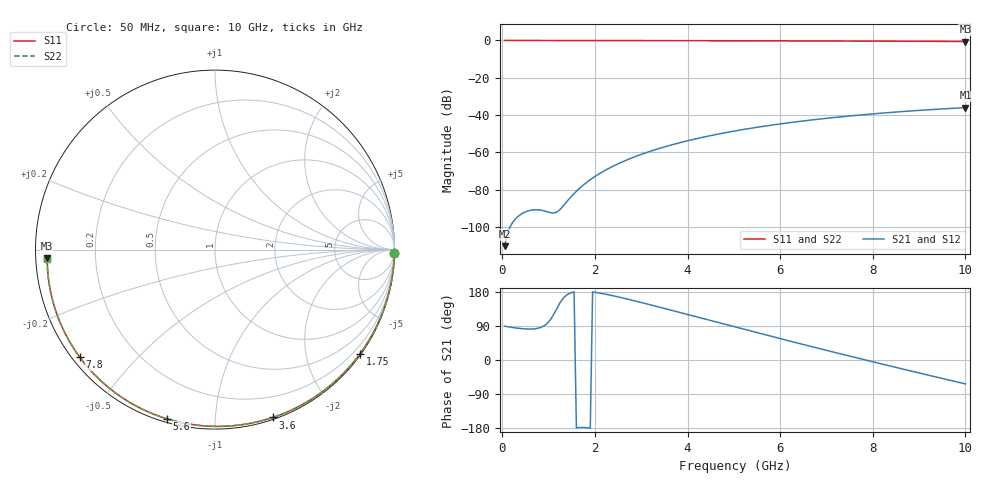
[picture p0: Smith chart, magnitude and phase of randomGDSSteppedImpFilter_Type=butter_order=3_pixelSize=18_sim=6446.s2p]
! freq	dB(S11)	phase(S11)	dB(S12)	phase(S12)
!  dB(S21)	phase(S21)	dB(S22)	phase(S22)
!S-par simulation data
#  GHz  S  DB  R 50
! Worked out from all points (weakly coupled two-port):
!   200 points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, 50 MHz to 10 GHz, reference 50 ohm
!   highest |S21| = -36.04 dB at 10 GHz (marker M1); lowest = -110.3 dB at 50 MHz (marker M2)
!   lowest |S11| = -0.6 dB at 10 GHz (marker M3), VSWR 30.37, Z = 1.65 - j1.25 ohm
!   |S11| at or under -10 dB: nowhere
!   |S22| runs from -0.6 to 0.0 dB; largest |S21 - S12| = 0
!   S11 on the Smith chart (normalised r, x): 50 MHz: open; 1.75 GHz: 0.03, -3.11; 3.6 GHz: 0.02, -1.40; 5.6 GHz: 0.02, -0.76; 7.8 GHz: 0.02, -0.35; 10 GHz: 0.03, -0.03
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0.05  -0.00 -1.0  -110.34 89.0  -110.34 89.0  -0.00 -1.0
0.4  -0.01 -8.3  -93.28 83.0  -93.28 83.0  -0.01 -8.3
0.8  -0.02 -16.5  -90.90 84.7  -90.90 84.7  -0.02 -16.5
1.6  -0.04 -32.7  -80.85 -178.9  -80.85 -178.9  -0.04 -32.7
1.65  -0.04 -33.7  -79.68 -178.3  -79.68 -178.3  -0.04 -33.6
1.75  -0.05 -35.7  -77.51 -178.2  -77.51 -178.2  -0.05 -35.6
1.9  -0.05 -38.6  -74.66 -179.6  -74.66 -179.6  -0.05 -38.6
2.05  -0.05 -41.6  -72.17 177.8  -72.17 177.8  -0.05 -41.6
2.25  -0.06 -45.5  -69.27 173.2  -69.27 173.2  -0.06 -45.5
2.45  -0.06 -49.4  -66.74 168.0  -66.74 168.0  -0.06 -49.3
2.9  -0.08 -58.0  -62.01 154.8  -62.01 154.8  -0.08 -57.9
3.4  -0.09 -67.3  -57.83 139.2  -57.83 139.2  -0.09 -67.3
3.6  -0.10 -71.0  -56.38 132.9  -56.38 132.9  -0.10 -70.9
4.3  -0.12 -83.6  -52.07 110.4  -52.07 110.4  -0.12 -83.5
5.05  -0.15 -96.6  -48.42 86.4  -48.42 86.4  -0.15 -96.5
5.6  -0.17 -105.9  -46.19 69.0  -46.19 69.0  -0.17 -105.8
6.15  -0.21 -114.9  -44.27 51.7  -44.27 51.7  -0.20 -114.8
6.7  -0.24 -123.9  -42.58 34.7  -42.58 34.7  -0.24 -123.7
7.8  -0.33 -141.4  -39.81 1.2  -39.81 1.2  -0.33 -141.3
8.35  -0.38 -150.2  -38.67 -15.1  -38.67 -15.1  -0.38 -150.0
9.2  -0.47 -163.9  -37.17 -40.0  -37.17 -40.0  -0.47 -163.7
10  -0.57 -177.1  -36.04 -63.1  -36.04 -63.1  -0.57 -177.0
